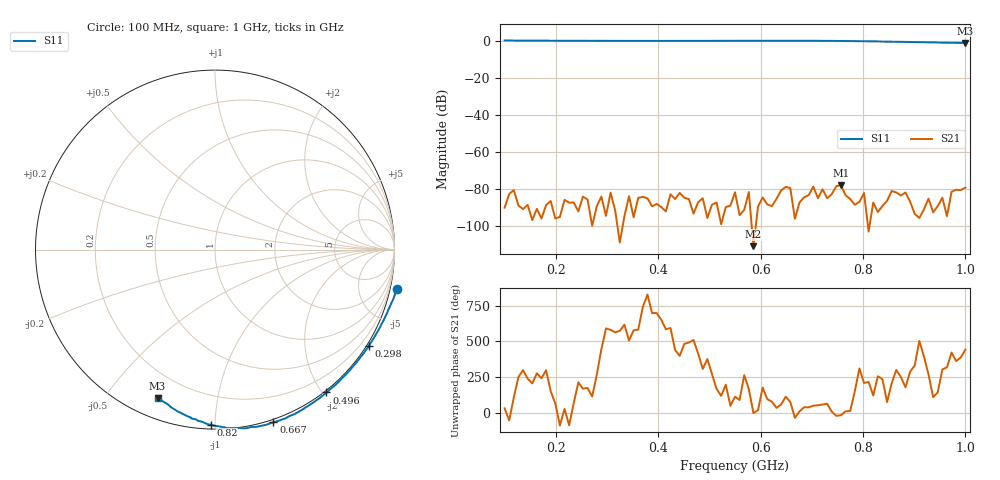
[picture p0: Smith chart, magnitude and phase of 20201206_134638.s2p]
# HZ S RI R 50
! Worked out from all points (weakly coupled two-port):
!   101 points, 100 MHz to 1 GHz, reference 50 ohm
!   highest |S21| = -78.08 dB at 757 MHz (marker M1); lowest = -111.1 dB at 586 MHz (marker M2)
!   lowest |S11| = -1.1 dB at 1 GHz (marker M3), VSWR 16.53, Z = 4.44 - j34.1 ohm
!   |S11| at or under -10 dB: nowhere
!   S12 and S22 are empty: the file has one direction only
!   S11 on the Smith chart (normalised r, x): 100 MHz: -1.52, -9.14; 298 MHz: -0.07, -3.48; 496 MHz: -0.02, -2.05; 667 MHz: -0.02, -1.39; 820 MHz: 0.02, -0.98; 1 GHz: 0.09, -0.68
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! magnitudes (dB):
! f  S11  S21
! 100 MHz  0.3  -90.2
! 253 MHz  0.1  -84.3
! 298 MHz  0.1  -94.7
! 406 MHz  0.1  -89.8
! 496 MHz  0.1  -95.8
! 550 MHz  0.1  -81.9
! 586 MHz  0.1  -111.1
! 640 MHz  0.2  -80.9
! 649 MHz  0.2  -79.0
! 658 MHz  0.1  -79.6
! 667 MHz  0.1  -96.2
! 694 MHz  0.1  -83.4
! 703 MHz  0.1  -78.8
! 712 MHz  0.1  -85.1
! 739 MHz  0.1  -82.9
! 748 MHz  0.0  -78.5
! 757 MHz  0.0  -78.1
! 766 MHz  0.0  -83.5
! 820 MHz  -0.2  -87.5
! 856 MHz  -0.4  -81.2
! 991 MHz  -1.0  -80.7
! 1 GHz  -1.1  -79.4
